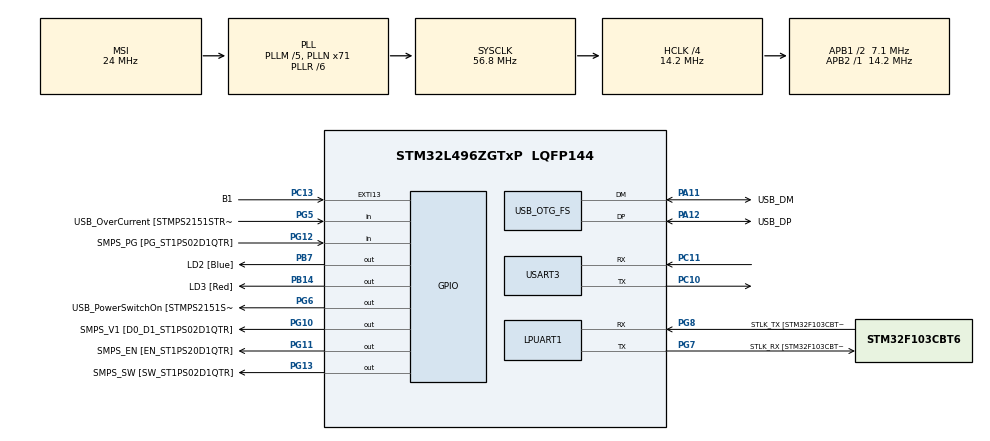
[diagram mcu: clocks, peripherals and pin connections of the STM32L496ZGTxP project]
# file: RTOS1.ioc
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FREERTOS.Tasks01=defaultTask,0,128,StartDefaultTask,Default,NULL,Dynamic,NULL,NULL;Task2,0,128,Task2_Init,Default,NULL,Dynamic,NULL,NULL
FREERTOS.configUSE_NEWLIB_REENTRANT=1
Mcu.Family=STM32L4
Mcu.Name=STM32L496ZGTxP
Mcu.Package=LQFP144
NVIC.OTG_FS_IRQn=true\:5\:0\:false\:false\:true\:true\:true\:true\:true
NVIC.PriorityGroup=NVIC_PRIORITYGROUP_4
NVIC.TIM1_UP_TIM16_IRQn=true\:15\:0\:false\:false\:true\:false\:false\:true\:true
NVIC.TimeBase=TIM1_UP_TIM16_IRQn
NVIC.TimeBaseIP=TIM1
PA10.GPIO_Label=USB_ID
PA10.Signal=USB_OTG_FS_ID
PA11.GPIO_Label=USB_DM
PA11.Mode=Host_Only
PA11.Signal=USB_OTG_FS_DM
PA12.GPIO_Label=USB_DP
PA12.Mode=Host_Only
PA12.Signal=USB_OTG_FS_DP
PA13\ (JTMS/SWDIO).GPIO_Label=TMS
PA13\ (JTMS/SWDIO).Signal=SYS_JTMS-SWDIO
PA14\ (JTCK/SWCLK).GPIO_Label=TCK
PA14\ (JTCK/SWCLK).Signal=SYS_JTCK-SWCLK
PA8.GPIO_Label=USB_SOF [TP1]
PA8.Signal=USB_OTG_FS_SOF
PA9.GPIO_Label=USB_VBUS
PA9.Signal=USB_OTG_FS_VBUS
PB14.GPIO_Label=LD3 [Red]
PB14.Signal=GPIO_Output
PB3\ (JTDO/TRACESWO).GPIO_Label=SWO
PB3\ (JTDO/TRACESWO).Signal=SYS_JTDO-SWO
PB7.GPIO_Label=LD2 [Blue]
PB7.Signal=GPIO_Output
PC10.Mode=Asynchronous
PC10.Signal=USART3_TX
PC11.Mode=Asynchronous
PC11.Signal=USART3_RX
PC13.GPIO_Label=B1
PC13.Signal=GPXTI13
PC14-OSC32_IN\ (PC14).Mode=LSE-External-Oscillator
PC14-OSC32_IN\ (PC14).Signal=RCC_OSC32_IN
PC15-OSC32_OUT\ (PC15).Mode=LSE-External-Oscillator
PC15-OSC32_OUT\ (PC15).Signal=RCC_OSC32_OUT
PG10.GPIO_Label=SMPS_V1 [D0_D1_ST1PS02D1QTR]
PG10.Signal=GPIO_Output
PG11.GPIO_Label=SMPS_EN [EN_ST1PS20D1QTR]
PG11.Signal=GPIO_Output
PG12.GPIO_Label=SMPS_PG [PG_ST1PS02D1QTR]
PG12.Signal=GPIO_Input
PG13.GPIO_Label=SMPS_SW [SW_ST1PS02D1QTR]
PG13.Signal=GPIO_Output
PG5.GPIO_Label=USB_OverCurrent [STMPS2151STR_FAULT]
PG5.Signal=GPIO_Input
PG6.GPIO_Label=USB_PowerSwitchOn [STMPS2151STR_EN]
PG6.Signal=GPIO_Output
PG7.GPIO_Label=STLK_RX [STM32F103CBT6_PA3]
PG7.Mode=Asynchronous
PG7.Signal=LPUART1_TX
PG8.GPIO_Label=STLK_TX [STM32F103CBT6_PA2]
PG8.Mode=Asynchronous
PG8.Signal=LPUART1_RX
PH0-OSC_IN\ (PH0).GPIO_Label=MCO
PH0-OSC_IN\ (PH0).Signal=RCC_OSC_IN
PH1-OSC_OUT\ (PH1).Signal=RCC_OSC_OUT
ProjectManager.HeapSize=0x200
ProjectManager.StackSize=0x400
ProjectManager.TargetToolchain=STM32CubeIDE
RCC.48MHZClocksFreq_Value=24000000
RCC.ADCFreq_Value=48000000
RCC.AHBCLKDivider=RCC_SYSCLK_DIV4
RCC.AHBFreq_Value=14200000
RCC.APB1CLKDivider=RCC_HCLK_DIV2
RCC.APB1Freq_Value=7100000
RCC.APB1TimFreq_Value=14200000
RCC.APB2Freq_Value=14200000
RCC.APB2TimFreq_Value=14200000
RCC.CortexFreq_Value=14200000
RCC.HCLKFreq_Value=14200000
RCC.HSE_VALUE=8000000
RCC.HSI48_VALUE=48000000
RCC.HSI_VALUE=16000000
RCC.MSIClockRange=RCC_MSIRANGE_9
RCC.MSI_VALUE=24000000
RCC.PLLM=5
RCC.PLLMUL=RCC_PLL_MUL9
RCC.PLLN=71
RCC.PLLR=RCC_PLLR_DIV6
RCC.PLLSAI1N=20
RCC.PRESCALERUSB=RCC_USBCLKSOURCE_PLL_DIV1_5
RCC.SYSCLKFreq_VALUE=56800000
RCC.SYSCLKSource=RCC_SYSCLKSOURCE_PLLCLK
RCC.SYSCLKSourceVirtual=RCC_SYSCLKSOURCE_PLLCLK
RCC.USBFreq_Value=48000000
RCC.VCOOutputFreq_Value=340800000
USART3.VirtualMode-Asynchronous=VM_ASYNC
USB_OTG_FS.VirtualMode=Host_Only
USB_OTG_FS.phy_itface=HCD_PHY_EMBEDDED
VP_FREERTOS_VS_CMSIS_V1.Mode=CMSIS_V1
VP_SYS_VS_tim1.Mode=TIM1
board=NUCLEO-L496ZG-P

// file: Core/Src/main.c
/* USER CODE BEGIN Header */
/**
  ******************************************************************************
  * @file           : main.c
  * @brief          : Main program body
  ******************************************************************************
  * @attention
  *
  * Copyright (c) 2023 STMicroelectronics.
  * All rights reserved.
  *
  * This software is licensed under terms that can be found in the LICENSE file
  * in the root directory of this software component.
  * If no LICENSE file comes with this software, it is provided AS-IS.
  *
  ******************************************************************************
  */
/* USER CODE END Header */
#include "main.h"
#include "cmsis_os.h"

/* USER CODE BEGIN Includes */
#include<string.h>
/* USER CODE END Includes */

UART_HandleTypeDef hlpuart1;
UART_HandleTypeDef huart3;

HCD_HandleTypeDef hhcd_USB_OTG_FS;

osThreadId defaultTaskHandle;
osThreadId Task2Handle;

/* USER CODE BEGIN PV */
osThreadId Task3Handle;
/* USER CODE END PV */

void SystemClock_Config(void);
static void MX_GPIO_Init(void);
static void MX_LPUART1_UART_Init(void);
static void MX_USART3_UART_Init(void);
static void MX_USB_OTG_FS_HCD_Init(void);
void StartDefaultTask(void const * argument);
void Task2_Init(void const * argument);

/* USER CODE BEGIN PFP */
void Task3_Init(void const * argument);
/* USER CODE END PFP */

int main(void)
{

  /* MCU Configuration--------------------------------------------------------*/

  /* Reset of all peripherals, Initializes the Flash interface and the Systick. */
  HAL_Init();

  /* Configure the system clock */
  SystemClock_Config();

  /* Initialize all configured peripherals */
  MX_GPIO_Init();
  MX_LPUART1_UART_Init();
  MX_USART3_UART_Init();
  MX_USB_OTG_FS_HCD_Init();

  /* Create the thread(s) */
  /* definition and creation of defaultTask */
  osThreadDef(defaultTask, StartDefaultTask, osPriorityNormal, 0, 128);
  defaultTaskHandle = osThreadCreate(osThread(defaultTask), NULL);

  /* definition and creation of Task2 */
  osThreadDef(Task2, Task2_Init, osPriorityNormal, 0, 128);
  Task2Handle = osThreadCreate(osThread(Task2), NULL);

  /* USER CODE BEGIN RTOS_THREADS */
  /* add threads, ... */
  osThreadDef(Task3,Task3_Init,osPriorityNormal,0,128);
  Task3Handle = osThreadCreate(osThread(Task3),NULL);
  /* USER CODE END RTOS_THREADS */

  /* Start scheduler */
  osKernelStart();

  /* We should never get here as control is now taken by the scheduler */
  /* Infinite loop */
  while (1)
  {

  }
}

void SystemClock_Config(void)
{
  RCC_OscInitTypeDef RCC_OscInitStruct = {0};
  RCC_ClkInitTypeDef RCC_ClkInitStruct = {0};

  /** Configure the main internal regulator output voltage
  */
  if (HAL_PWREx_ControlVoltageScaling(PWR_REGULATOR_VOLTAGE_SCALE1) != HAL_OK)
  {
    Error_Handler();
  }

  /** Configure LSE Drive Capability
  */
  HAL_PWR_EnableBkUpAccess();
  __HAL_RCC_LSEDRIVE_CONFIG(RCC_LSEDRIVE_LOW);

  /** Initializes the RCC Oscillators according to the specified parameters
  * in the RCC_OscInitTypeDef structure.
  */
  RCC_OscInitStruct.OscillatorType = RCC_OSCILLATORTYPE_LSE|RCC_OSCILLATORTYPE_MSI;
  RCC_OscInitStruct.LSEState = RCC_LSE_ON;
  RCC_OscInitStruct.MSIState = RCC_MSI_ON;
  RCC_OscInitStruct.MSICalibrationValue = 0;
  RCC_OscInitStruct.MSIClockRange = RCC_MSIRANGE_9;
  RCC_OscInitStruct.PLL.PLLState = RCC_PLL_ON;
  RCC_OscInitStruct.PLL.PLLSource = RCC_PLLSOURCE_MSI;
  RCC_OscInitStruct.PLL.PLLM = 5;
  RCC_OscInitStruct.PLL.PLLN = 71;
  RCC_OscInitStruct.PLL.PLLP = RCC_PLLP_DIV2;
  RCC_OscInitStruct.PLL.PLLQ = RCC_PLLQ_DIV2;
  RCC_OscInitStruct.PLL.PLLR = RCC_PLLR_DIV6;
  if (HAL_RCC_OscConfig(&RCC_OscInitStruct) != HAL_OK)
  {
    Error_Handler();
  }

  /** Initializes the CPU, AHB and APB buses clocks
  */
  RCC_ClkInitStruct.ClockType = RCC_CLOCKTYPE_HCLK|RCC_CLOCKTYPE_SYSCLK
                              |RCC_CLOCKTYPE_PCLK1|RCC_CLOCKTYPE_PCLK2;
  RCC_ClkInitStruct.SYSCLKSource = RCC_SYSCLKSOURCE_PLLCLK;
  RCC_ClkInitStruct.AHBCLKDivider = RCC_SYSCLK_DIV4;
  RCC_ClkInitStruct.APB1CLKDivider = RCC_HCLK_DIV2;
  RCC_ClkInitStruct.APB2CLKDivider = RCC_HCLK_DIV1;

  if (HAL_RCC_ClockConfig(&RCC_ClkInitStruct, FLASH_LATENCY_0) != HAL_OK)
  {
    Error_Handler();
  }

  /** Enable MSI Auto calibration
  */
  HAL_RCCEx_EnableMSIPLLMode();
}

static void MX_LPUART1_UART_Init(void)
{

  hlpuart1.Instance = LPUART1;
  hlpuart1.Init.BaudRate = 209700;
  hlpuart1.Init.WordLength = UART_WORDLENGTH_7B;
  hlpuart1.Init.StopBits = UART_STOPBITS_1;
  hlpuart1.Init.Parity = UART_PARITY_NONE;
  hlpuart1.Init.Mode = UART_MODE_TX_RX;
  hlpuart1.Init.HwFlowCtl = UART_HWCONTROL_NONE;
  hlpuart1.Init.OneBitSampling = UART_ONE_BIT_SAMPLE_DISABLE;
  hlpuart1.AdvancedInit.AdvFeatureInit = UART_ADVFEATURE_NO_INIT;
  if (HAL_UART_Init(&hlpuart1) != HAL_OK)
  {
    Error_Handler();
  }

}

static void MX_USART3_UART_Init(void)
{

  huart3.Instance = USART3;
  huart3.Init.BaudRate = 115200;
  huart3.Init.WordLength = UART_WORDLENGTH_8B;
  huart3.Init.StopBits = UART_STOPBITS_1;
  huart3.Init.Parity = UART_PARITY_NONE;
  huart3.Init.Mode = UART_MODE_TX_RX;
  huart3.Init.HwFlowCtl = UART_HWCONTROL_NONE;
  huart3.Init.OverSampling = UART_OVERSAMPLING_16;
  huart3.Init.OneBitSampling = UART_ONE_BIT_SAMPLE_DISABLE;
  huart3.AdvancedInit.AdvFeatureInit = UART_ADVFEATURE_NO_INIT;
  if (HAL_UART_Init(&huart3) != HAL_OK)
  {
    Error_Handler();
  }

}

static void MX_USB_OTG_FS_HCD_Init(void)
{

  hhcd_USB_OTG_FS.Instance = USB_OTG_FS;
  hhcd_USB_OTG_FS.Init.Host_channels = 12;
  hhcd_USB_OTG_FS.Init.speed = HCD_SPEED_FULL;
  hhcd_USB_OTG_FS.Init.dma_enable = DISABLE;
  hhcd_USB_OTG_FS.Init.phy_itface = HCD_PHY_EMBEDDED;
  hhcd_USB_OTG_FS.Init.Sof_enable = DISABLE;
  if (HAL_HCD_Init(&hhcd_USB_OTG_FS) != HAL_OK)
  {
    Error_Handler();
  }

}

static void MX_GPIO_Init(void)
{
  GPIO_InitTypeDef GPIO_InitStruct = {0};

  /* GPIO Ports Clock Enable */
  __HAL_RCC_GPIOC_CLK_ENABLE();
  __HAL_RCC_GPIOH_CLK_ENABLE();
  __HAL_RCC_GPIOB_CLK_ENABLE();
  __HAL_RCC_GPIOG_CLK_ENABLE();
  HAL_PWREx_EnableVddIO2();
  __HAL_RCC_GPIOA_CLK_ENABLE();

  /*Configure GPIO pin Output Level */
  HAL_GPIO_WritePin(GPIOB, LD3_Pin|LD2_Pin, GPIO_PIN_RESET);

  /*Configure GPIO pin Output Level */
  HAL_GPIO_WritePin(GPIOG, USB_PowerSwitchOn_Pin|SMPS_V1_Pin|SMPS_EN_Pin|SMPS_SW_Pin, GPIO_PIN_RESET);

  /*Configure GPIO pin : B1_Pin */
  GPIO_InitStruct.Pin = B1_Pin;
  GPIO_InitStruct.Mode = GPIO_MODE_IT_RISING;
  GPIO_InitStruct.Pull = GPIO_NOPULL;
  HAL_GPIO_Init(B1_GPIO_Port, &GPIO_InitStruct);

  /*Configure GPIO pins : LD3_Pin LD2_Pin */
  GPIO_InitStruct.Pin = LD3_Pin|LD2_Pin;
  GPIO_InitStruct.Mode = GPIO_MODE_OUTPUT_PP;
  GPIO_InitStruct.Pull = GPIO_NOPULL;
  GPIO_InitStruct.Speed = GPIO_SPEED_FREQ_LOW;
  HAL_GPIO_Init(GPIOB, &GPIO_InitStruct);

  /*Configure GPIO pins : USB_OverCurrent_Pin SMPS_PG_Pin */
  GPIO_InitStruct.Pin = USB_OverCurrent_Pin|SMPS_PG_Pin;
  GPIO_InitStruct.Mode = GPIO_MODE_INPUT;
  GPIO_InitStruct.Pull = GPIO_NOPULL;
  HAL_GPIO_Init(GPIOG, &GPIO_InitStruct);

  /*Configure GPIO pins : USB_PowerSwitchOn_Pin SMPS_V1_Pin SMPS_EN_Pin SMPS_SW_Pin */
  GPIO_InitStruct.Pin = USB_PowerSwitchOn_Pin|SMPS_V1_Pin|SMPS_EN_Pin|SMPS_SW_Pin;
  GPIO_InitStruct.Mode = GPIO_MODE_OUTPUT_PP;
  GPIO_InitStruct.Pull = GPIO_NOPULL;
  GPIO_InitStruct.Speed = GPIO_SPEED_FREQ_LOW;
  HAL_GPIO_Init(GPIOG, &GPIO_InitStruct);

}

void StartDefaultTask(void const * argument)
{
  /* USER CODE BEGIN 5 */
  /* Infinite loop */
  char *name="Task_1 \n";
  for(;;)
  {
	  HAL_GPIO_TogglePin(GPIOB, GPIO_PIN_7);
	  HAL_UART_Transmit(&huart3, (uint8_t*)name, strlen(name), 1000);
    osDelay(1000);
  }
  /* USER CODE END 5 */
}

void Task2_Init(void const * argument)
{
  /* USER CODE BEGIN Task2_Init */
  /* Infinite loop */
	char *name="Task_2 \n";
  for(;;)
  {
	HAL_GPIO_TogglePin(GPIOB, GPIO_PIN_14);
	HAL_UART_Transmit(&huart3, (uint8_t*)name, strlen(name), 1000);
    osDelay(1000);

  }
  /* USER CODE END Task2_Init */
}

void Task3_Init(void const * argument)
{
  /* USER CODE BEGIN Task2_Init */
  /* Infinite loop */
	char *name="Task_3 \n";
  for(;;)
  {
	  HAL_GPIO_TogglePin(GPIOB, GPIO_PIN_14);
	HAL_UART_Transmit(&huart3, (uint8_t*)name, strlen(name), 1000);
    osDelay(1000);

  }
  /* USER CODE END Task2_Init */
}

void HAL_TIM_PeriodElapsedCallback(TIM_HandleTypeDef *htim)
{
  if (htim->Instance == TIM1) {
    HAL_IncTick();
  }
}

void Error_Handler(void)
{
  __disable_irq();
  while (1)
  {
  }
}
